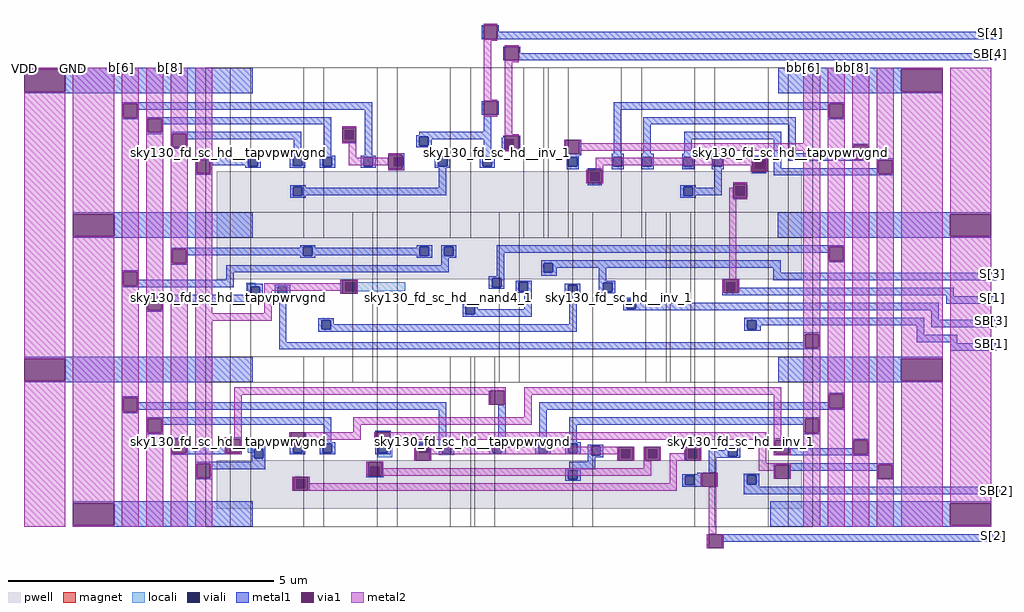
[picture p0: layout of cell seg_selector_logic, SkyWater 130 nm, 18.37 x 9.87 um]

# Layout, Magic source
magic
tech sky130A
magscale 1 2
<< magnet >>
rect 2595 -4415 2647 -4363
<< pwell >>
rect 579 -4820 2781 -4413
rect 579 -5683 2781 -5501
<< locali >>
rect 2370 -4394 2378 -4367
rect 2616 -4367 2650 -4360
rect 2344 -4401 2378 -4394
rect 2639 -4394 2650 -4367
rect 690 -4847 724 -4832
rect 690 -4866 706 -4847
rect 1097 -4865 1289 -4831
rect 695 -5459 729 -5439
rect 695 -5473 720 -5459
rect 1185 -5473 1187 -5439
rect 1221 -5473 1240 -5439
rect 1185 -5489 1240 -5473
<< viali >>
rect 1060 -4293 1094 -4259
rect 1341 -4317 1375 -4283
rect 1663 -4326 1697 -4292
rect 698 -4394 732 -4360
rect 866 -4393 900 -4359
rect 978 -4394 1012 -4360
rect 1132 -4394 1166 -4360
rect 1244 -4394 1278 -4360
rect 1412 -4394 1446 -4360
rect 1580 -4394 1614 -4360
rect 1902 -4394 1936 -4360
rect 2071 -4394 2105 -4360
rect 2183 -4394 2217 -4360
rect 2336 -4394 2370 -4360
rect 2448 -4394 2482 -4360
rect 2605 -4401 2639 -4367
rect 1984 -4450 2018 -4416
rect 867 -4506 901 -4472
rect 2336 -4506 2370 -4472
rect 2532 -4503 2566 -4469
rect 904 -4732 938 -4698
rect 1343 -4732 1377 -4698
rect 1435 -4732 1469 -4698
rect 1810 -4794 1844 -4760
rect 706 -4881 740 -4847
rect 809 -4881 843 -4847
rect 1063 -4865 1097 -4831
rect 1615 -4849 1649 -4815
rect 1716 -4865 1750 -4831
rect 1901 -4877 1935 -4843
rect 2033 -4866 2067 -4832
rect 2496 -4865 2530 -4831
rect 1516 -4951 1550 -4917
rect 2122 -4930 2156 -4896
rect 973 -5007 1007 -4973
rect 2576 -5008 2610 -4974
rect 720 -5493 754 -5459
rect 866 -5473 900 -5439
rect 978 -5473 1012 -5439
rect 1187 -5473 1221 -5439
rect 1340 -5473 1374 -5439
rect 1427 -5474 1461 -5440
rect 1617 -5473 1651 -5439
rect 1790 -5473 1824 -5439
rect 1902 -5473 1936 -5439
rect 1988 -5483 2022 -5449
rect 2101 -5493 2135 -5459
rect 2202 -5494 2236 -5460
rect 2354 -5494 2388 -5460
rect 2504 -5485 2538 -5451
rect 1156 -5559 1190 -5525
rect 878 -5606 912 -5572
rect 1902 -5573 1936 -5539
rect 2342 -5594 2376 -5560
rect 2575 -5592 2609 -5558
<< metal1 >>
rect 1577 -3916 1583 -3864
rect 1635 -3888 1641 -3864
rect 1635 -3916 3513 -3888
rect 1657 -3996 1663 -3944
rect 1715 -3968 1721 -3944
rect 1715 -3996 3513 -3968
rect -147 -4030 714 -4024
rect 9 -4114 714 -4030
rect -147 -4120 714 -4114
rect 2692 -4030 3311 -4024
rect 2692 -4114 3155 -4030
rect 2692 -4120 3311 -4114
rect 221 -4159 1163 -4153
rect 221 -4211 227 -4159
rect 279 -4181 1163 -4159
rect 279 -4211 285 -4181
rect 221 -4217 285 -4211
rect 313 -4215 1009 -4209
rect 313 -4267 319 -4215
rect 371 -4237 1009 -4215
rect 371 -4267 377 -4237
rect 313 -4273 377 -4267
rect 405 -4271 897 -4265
rect 405 -4323 411 -4271
rect 463 -4293 897 -4271
rect 463 -4323 469 -4293
rect 405 -4329 469 -4323
rect 869 -4353 897 -4293
rect 686 -4360 744 -4354
rect 686 -4363 698 -4360
rect 497 -4369 698 -4363
rect 497 -4421 503 -4369
rect 555 -4391 698 -4369
rect 555 -4421 561 -4391
rect 686 -4394 698 -4391
rect 732 -4394 744 -4360
rect 686 -4400 744 -4394
rect 854 -4359 912 -4353
rect 981 -4354 1009 -4237
rect 1051 -4250 1103 -4244
rect 1051 -4308 1103 -4302
rect 1135 -4354 1163 -4181
rect 1577 -4201 1583 -4149
rect 1635 -4201 1641 -4149
rect 2073 -4159 2943 -4153
rect 2073 -4181 2885 -4159
rect 1583 -4265 1611 -4201
rect 1341 -4277 1611 -4265
rect 1329 -4283 1611 -4277
rect 1329 -4317 1341 -4283
rect 1375 -4293 1611 -4283
rect 1657 -4286 1663 -4280
rect 1375 -4317 1387 -4293
rect 1329 -4323 1387 -4317
rect 1224 -4351 1284 -4345
rect 854 -4393 866 -4359
rect 900 -4393 912 -4359
rect 854 -4399 912 -4393
rect 966 -4360 1024 -4354
rect 966 -4394 978 -4360
rect 1012 -4394 1024 -4360
rect 966 -4400 1024 -4394
rect 1120 -4360 1178 -4354
rect 1120 -4394 1132 -4360
rect 1166 -4394 1178 -4360
rect 1120 -4400 1178 -4394
rect 1276 -4360 1284 -4351
rect 1583 -4354 1611 -4293
rect 1651 -4332 1663 -4286
rect 1715 -4332 1721 -4280
rect 1886 -4347 1892 -4295
rect 1944 -4347 1950 -4295
rect 1886 -4353 1950 -4347
rect 2073 -4348 2101 -4181
rect 2185 -4237 2759 -4209
rect 2879 -4211 2885 -4181
rect 2937 -4211 2943 -4159
rect 2879 -4217 2943 -4211
rect 2185 -4348 2213 -4237
rect 2339 -4293 2703 -4265
rect 2339 -4348 2367 -4293
rect 1278 -4394 1284 -4360
rect 1276 -4403 1284 -4394
rect 1400 -4360 1458 -4354
rect 1400 -4394 1412 -4360
rect 1446 -4394 1458 -4360
rect 1400 -4400 1458 -4394
rect 1568 -4360 1626 -4354
rect 1568 -4394 1580 -4360
rect 1614 -4394 1626 -4360
rect 1568 -4400 1626 -4394
rect 1896 -4360 1942 -4353
rect 1896 -4394 1902 -4360
rect 1936 -4394 1942 -4360
rect 1224 -4409 1284 -4403
rect 497 -4427 561 -4421
rect 855 -4472 913 -4466
rect 855 -4506 867 -4472
rect 901 -4475 913 -4472
rect 1415 -4475 1443 -4400
rect 1896 -4406 1942 -4394
rect 2065 -4360 2111 -4348
rect 2065 -4394 2071 -4360
rect 2105 -4394 2111 -4360
rect 1975 -4407 2027 -4401
rect 2065 -4406 2111 -4394
rect 2177 -4360 2223 -4348
rect 2177 -4394 2183 -4360
rect 2217 -4394 2223 -4360
rect 2177 -4406 2223 -4394
rect 2330 -4360 2376 -4348
rect 2330 -4394 2336 -4360
rect 2370 -4394 2376 -4360
rect 2330 -4406 2376 -4394
rect 2442 -4360 2488 -4348
rect 2442 -4394 2448 -4360
rect 2482 -4394 2488 -4360
rect 2442 -4406 2488 -4394
rect 2593 -4363 2647 -4355
rect 1972 -4456 1975 -4410
rect 2027 -4456 2030 -4410
rect 1975 -4465 2027 -4459
rect 901 -4503 1443 -4475
rect 2324 -4472 2382 -4466
rect 901 -4506 913 -4503
rect 855 -4512 913 -4506
rect 2324 -4506 2336 -4472
rect 2370 -4475 2382 -4472
rect 2451 -4475 2479 -4406
rect 2593 -4415 2595 -4363
rect 2593 -4421 2647 -4415
rect 2675 -4401 2703 -4293
rect 2731 -4345 2759 -4237
rect 2971 -4315 3035 -4309
rect 2971 -4345 2977 -4315
rect 2731 -4367 2977 -4345
rect 3029 -4367 3035 -4315
rect 2731 -4373 3035 -4367
rect 3063 -4371 3127 -4365
rect 3063 -4401 3069 -4371
rect 2675 -4423 3069 -4401
rect 3121 -4423 3127 -4371
rect 2675 -4429 3127 -4423
rect 2370 -4503 2479 -4475
rect 2523 -4460 2575 -4454
rect 2370 -4506 2382 -4503
rect 2324 -4512 2382 -4506
rect 2523 -4518 2575 -4512
rect 37 -4574 714 -4568
rect 193 -4658 714 -4574
rect 37 -4664 714 -4658
rect 2691 -4574 3495 -4568
rect 2691 -4658 3339 -4574
rect 2691 -4664 3495 -4658
rect 892 -4698 950 -4692
rect 892 -4701 904 -4698
rect 405 -4707 904 -4701
rect 405 -4759 411 -4707
rect 463 -4729 904 -4707
rect 463 -4759 469 -4729
rect 892 -4732 904 -4729
rect 938 -4701 950 -4698
rect 1331 -4698 1389 -4692
rect 1331 -4701 1343 -4698
rect 938 -4729 1343 -4701
rect 938 -4732 950 -4729
rect 892 -4738 950 -4732
rect 1331 -4732 1343 -4729
rect 1377 -4732 1389 -4698
rect 1331 -4738 1389 -4732
rect 1423 -4698 1481 -4692
rect 1423 -4732 1435 -4698
rect 1469 -4732 1481 -4698
rect 1423 -4738 1481 -4732
rect 1633 -4698 2943 -4692
rect 1633 -4720 2885 -4698
rect 405 -4765 469 -4759
rect 1423 -4766 1451 -4738
rect 221 -4792 285 -4786
rect 221 -4844 227 -4792
rect 279 -4822 285 -4792
rect 614 -4794 1451 -4766
rect 614 -4822 642 -4794
rect 1633 -4809 1661 -4720
rect 1800 -4760 2701 -4748
rect 2879 -4750 2885 -4720
rect 2937 -4750 2943 -4698
rect 2879 -4756 2943 -4750
rect 1800 -4794 1810 -4760
rect 1844 -4776 2701 -4760
rect 1844 -4794 1858 -4776
rect 1800 -4806 1858 -4794
rect 1603 -4815 1661 -4809
rect 279 -4844 642 -4822
rect 221 -4850 642 -4844
rect 694 -4847 752 -4836
rect 694 -4878 706 -4847
rect 313 -4881 706 -4878
rect 740 -4881 752 -4847
rect 313 -4884 752 -4881
rect 313 -4936 319 -4884
rect 371 -4886 752 -4884
rect 797 -4847 855 -4841
rect 797 -4881 809 -4847
rect 843 -4881 855 -4847
rect 1044 -4874 1051 -4822
rect 1103 -4874 1109 -4822
rect 1603 -4849 1615 -4815
rect 1649 -4849 1661 -4815
rect 1603 -4855 1661 -4849
rect 1704 -4831 1765 -4825
rect 1704 -4865 1716 -4831
rect 1750 -4865 1765 -4831
rect 2017 -4826 2045 -4776
rect 2673 -4796 2701 -4776
rect 2017 -4832 2079 -4826
rect 1704 -4871 1765 -4865
rect 371 -4906 747 -4886
rect 797 -4887 855 -4881
rect 371 -4936 377 -4906
rect 313 -4942 377 -4936
rect 813 -5056 841 -4887
rect 1504 -4917 1562 -4911
rect 1504 -4951 1516 -4917
rect 1550 -4933 1562 -4917
rect 1737 -4933 1765 -4871
rect 1889 -4843 1947 -4837
rect 1889 -4877 1901 -4843
rect 1935 -4877 1947 -4843
rect 2017 -4866 2033 -4832
rect 2067 -4866 2079 -4832
rect 2017 -4872 2079 -4866
rect 2481 -4871 2487 -4819
rect 2539 -4852 2545 -4819
rect 2673 -4824 3513 -4796
rect 2539 -4871 3353 -4852
rect 1889 -4883 1947 -4877
rect 2481 -4880 3353 -4871
rect 1550 -4951 1765 -4933
rect 1504 -4961 1765 -4951
rect 961 -4973 1019 -4967
rect 961 -5007 973 -4973
rect 1007 -4989 1019 -4973
rect 1905 -4989 1933 -4883
rect 3325 -4884 3353 -4880
rect 2108 -4896 2170 -4890
rect 2108 -4930 2122 -4896
rect 2156 -4908 2170 -4896
rect 2156 -4930 3297 -4908
rect 3325 -4912 3513 -4884
rect 2108 -4936 3297 -4930
rect 1007 -5007 1933 -4989
rect 961 -5017 1933 -5007
rect 2564 -4974 3241 -4964
rect 2564 -5008 2576 -4974
rect 2610 -4992 3241 -4974
rect 2610 -5008 2626 -4992
rect 2564 -5014 2626 -5008
rect 2787 -5026 2851 -5020
rect 2787 -5056 2793 -5026
rect 813 -5078 2793 -5056
rect 2845 -5078 2851 -5026
rect 3213 -5028 3241 -4992
rect 3269 -4972 3297 -4936
rect 3269 -5000 3513 -4972
rect 3213 -5056 3367 -5028
rect 813 -5084 2851 -5078
rect 3339 -5060 3367 -5056
rect 3339 -5088 3513 -5060
rect -147 -5118 714 -5112
rect 9 -5202 714 -5118
rect -147 -5208 714 -5202
rect 2692 -5118 3311 -5112
rect 2692 -5202 3155 -5118
rect 2692 -5208 3311 -5202
rect 221 -5266 285 -5260
rect 221 -5318 227 -5266
rect 279 -5283 285 -5266
rect 279 -5311 1443 -5283
rect 1603 -5292 1609 -5240
rect 1661 -5292 1667 -5240
rect 2879 -5253 2943 -5247
rect 2879 -5283 2885 -5253
rect 279 -5318 285 -5311
rect 221 -5324 285 -5318
rect 313 -5345 1009 -5339
rect 313 -5397 319 -5345
rect 371 -5367 1009 -5345
rect 371 -5397 377 -5367
rect 313 -5403 377 -5397
rect 405 -5422 469 -5416
rect 405 -5474 411 -5422
rect 463 -5451 469 -5422
rect 609 -5421 673 -5415
rect 609 -5451 615 -5421
rect 463 -5473 615 -5451
rect 667 -5473 673 -5421
rect 851 -5447 857 -5395
rect 909 -5447 915 -5395
rect 981 -5433 1009 -5367
rect 1175 -5395 1233 -5389
rect 1175 -5419 1178 -5395
rect 966 -5439 1024 -5433
rect 463 -5474 673 -5473
rect 405 -5479 673 -5474
rect 711 -5459 761 -5447
rect 405 -5480 469 -5479
rect 711 -5493 720 -5459
rect 754 -5493 761 -5459
rect 854 -5473 866 -5447
rect 900 -5473 912 -5447
rect 854 -5479 912 -5473
rect 966 -5473 978 -5439
rect 1012 -5473 1024 -5439
rect 1172 -5447 1178 -5419
rect 1230 -5419 1233 -5395
rect 1230 -5447 1236 -5419
rect 1172 -5448 1187 -5447
rect 966 -5479 1024 -5473
rect 1175 -5473 1187 -5448
rect 1221 -5448 1236 -5447
rect 1322 -5439 1386 -5432
rect 1221 -5473 1233 -5448
rect 1175 -5479 1233 -5473
rect 1322 -5451 1340 -5439
rect 1374 -5451 1386 -5439
rect 711 -5507 761 -5493
rect 1322 -5503 1328 -5451
rect 1380 -5503 1386 -5451
rect 1415 -5434 1443 -5311
rect 1639 -5433 1667 -5292
rect 1793 -5305 2885 -5283
rect 2937 -5305 2943 -5253
rect 1793 -5311 2943 -5305
rect 1793 -5433 1821 -5311
rect 1905 -5345 2851 -5339
rect 1905 -5367 2793 -5345
rect 1905 -5433 1933 -5367
rect 2787 -5397 2793 -5367
rect 2845 -5397 2851 -5345
rect 2787 -5403 2851 -5397
rect 2675 -5425 2739 -5419
rect 1415 -5440 1473 -5434
rect 1415 -5474 1427 -5440
rect 1461 -5474 1473 -5440
rect 1415 -5480 1473 -5474
rect 1605 -5439 1667 -5433
rect 1605 -5473 1617 -5439
rect 1651 -5473 1667 -5439
rect 1605 -5479 1667 -5473
rect 1778 -5439 1836 -5433
rect 1778 -5473 1790 -5439
rect 1824 -5473 1836 -5439
rect 1778 -5479 1836 -5473
rect 1890 -5439 1948 -5433
rect 1890 -5473 1902 -5439
rect 1936 -5473 1948 -5439
rect 1890 -5479 1948 -5473
rect 1976 -5449 2034 -5443
rect 1976 -5483 1988 -5449
rect 2022 -5483 2034 -5449
rect 2492 -5451 2550 -5445
rect 1976 -5489 2034 -5483
rect 1976 -5507 2004 -5489
rect 2086 -5503 2092 -5451
rect 2144 -5503 2150 -5451
rect 2186 -5503 2192 -5451
rect 2244 -5503 2250 -5451
rect 2338 -5503 2344 -5451
rect 2396 -5503 2402 -5451
rect 2492 -5463 2504 -5451
rect 2430 -5485 2504 -5463
rect 2538 -5485 2550 -5451
rect 2675 -5477 2681 -5425
rect 2733 -5455 2739 -5425
rect 2971 -5426 3035 -5420
rect 2971 -5455 2977 -5426
rect 2733 -5477 2977 -5455
rect 2675 -5478 2977 -5477
rect 3029 -5478 3035 -5426
rect 2675 -5483 3035 -5478
rect 2971 -5484 3035 -5483
rect 2430 -5491 2550 -5485
rect 498 -5508 761 -5507
rect 497 -5514 761 -5508
rect 497 -5566 503 -5514
rect 555 -5535 761 -5514
rect 555 -5566 561 -5535
rect 1142 -5559 1148 -5507
rect 1200 -5559 1206 -5507
rect 1905 -5533 2004 -5507
rect 497 -5572 561 -5566
rect 863 -5615 869 -5563
rect 921 -5615 928 -5563
rect 1142 -5565 1206 -5559
rect 1890 -5535 2004 -5533
rect 1890 -5539 1948 -5535
rect 1890 -5573 1902 -5539
rect 1936 -5573 1948 -5539
rect 2430 -5548 2458 -5491
rect 2675 -5518 3127 -5512
rect 2388 -5554 2406 -5548
rect 1890 -5579 1948 -5573
rect 2330 -5560 2406 -5554
rect 2330 -5594 2342 -5560
rect 2376 -5594 2406 -5560
rect 2330 -5600 2406 -5594
rect 2458 -5600 2464 -5548
rect 2563 -5558 2621 -5552
rect 2563 -5592 2575 -5558
rect 2609 -5592 2621 -5558
rect 2675 -5570 2681 -5518
rect 2733 -5540 3069 -5518
rect 2733 -5570 2739 -5540
rect 3063 -5570 3069 -5540
rect 3121 -5570 3127 -5518
rect 3063 -5572 3127 -5570
rect 2563 -5600 2621 -5592
rect 2563 -5628 3527 -5600
rect 37 -5662 714 -5656
rect 193 -5746 714 -5662
rect 37 -5752 714 -5746
rect 2663 -5662 3495 -5656
rect 2663 -5746 3339 -5662
rect 2663 -5752 3495 -5746
rect 2424 -5832 2430 -5780
rect 2482 -5808 3527 -5780
rect 2482 -5832 2488 -5808
<< via1 >>
rect 1583 -3916 1635 -3864
rect 1663 -3996 1715 -3944
rect -147 -4114 9 -4030
rect 3155 -4114 3311 -4030
rect 227 -4211 279 -4159
rect 319 -4267 371 -4215
rect 411 -4323 463 -4271
rect 503 -4421 555 -4369
rect 1051 -4259 1103 -4250
rect 1051 -4293 1060 -4259
rect 1060 -4293 1094 -4259
rect 1094 -4293 1103 -4259
rect 1051 -4302 1103 -4293
rect 1583 -4201 1635 -4149
rect 1224 -4360 1276 -4351
rect 1663 -4292 1715 -4280
rect 1663 -4326 1697 -4292
rect 1697 -4326 1715 -4292
rect 1663 -4332 1715 -4326
rect 1892 -4347 1944 -4295
rect 2885 -4211 2937 -4159
rect 1224 -4394 1244 -4360
rect 1244 -4394 1276 -4360
rect 1224 -4403 1276 -4394
rect 1975 -4416 2027 -4407
rect 1975 -4450 1984 -4416
rect 1984 -4450 2018 -4416
rect 2018 -4450 2027 -4416
rect 1975 -4459 2027 -4450
rect 2595 -4367 2647 -4363
rect 2595 -4401 2605 -4367
rect 2605 -4401 2639 -4367
rect 2639 -4401 2647 -4367
rect 2595 -4415 2647 -4401
rect 2977 -4367 3029 -4315
rect 3069 -4423 3121 -4371
rect 2523 -4469 2575 -4460
rect 2523 -4503 2532 -4469
rect 2532 -4503 2566 -4469
rect 2566 -4503 2575 -4469
rect 2523 -4512 2575 -4503
rect 37 -4658 193 -4574
rect 3339 -4658 3495 -4574
rect 411 -4759 463 -4707
rect 227 -4844 279 -4792
rect 2885 -4750 2937 -4698
rect 319 -4936 371 -4884
rect 1051 -4831 1103 -4822
rect 1051 -4865 1063 -4831
rect 1063 -4865 1097 -4831
rect 1097 -4865 1103 -4831
rect 1051 -4874 1103 -4865
rect 2487 -4831 2539 -4819
rect 2487 -4865 2496 -4831
rect 2496 -4865 2530 -4831
rect 2530 -4865 2539 -4831
rect 2487 -4871 2539 -4865
rect 2793 -5078 2845 -5026
rect -147 -5202 9 -5118
rect 3155 -5202 3311 -5118
rect 227 -5318 279 -5266
rect 1609 -5292 1661 -5240
rect 319 -5397 371 -5345
rect 411 -5474 463 -5422
rect 615 -5473 667 -5421
rect 857 -5439 909 -5395
rect 857 -5447 866 -5439
rect 866 -5447 900 -5439
rect 900 -5447 909 -5439
rect 1178 -5439 1230 -5395
rect 1178 -5447 1187 -5439
rect 1187 -5447 1221 -5439
rect 1221 -5447 1230 -5439
rect 1328 -5473 1340 -5451
rect 1340 -5473 1374 -5451
rect 1374 -5473 1380 -5451
rect 1328 -5503 1380 -5473
rect 2885 -5305 2937 -5253
rect 2793 -5397 2845 -5345
rect 2092 -5459 2144 -5451
rect 2092 -5493 2101 -5459
rect 2101 -5493 2135 -5459
rect 2135 -5493 2144 -5459
rect 2092 -5503 2144 -5493
rect 2192 -5460 2244 -5451
rect 2192 -5494 2202 -5460
rect 2202 -5494 2236 -5460
rect 2236 -5494 2244 -5460
rect 2192 -5503 2244 -5494
rect 2344 -5460 2396 -5451
rect 2344 -5494 2354 -5460
rect 2354 -5494 2388 -5460
rect 2388 -5494 2396 -5460
rect 2344 -5503 2396 -5494
rect 2681 -5477 2733 -5425
rect 2977 -5478 3029 -5426
rect 503 -5566 555 -5514
rect 1148 -5525 1200 -5507
rect 1148 -5559 1156 -5525
rect 1156 -5559 1190 -5525
rect 1190 -5559 1200 -5525
rect 869 -5572 921 -5563
rect 869 -5606 878 -5572
rect 878 -5606 912 -5572
rect 912 -5606 921 -5572
rect 869 -5615 921 -5606
rect 2406 -5600 2458 -5548
rect 2681 -5570 2733 -5518
rect 3069 -5570 3121 -5518
rect 37 -5746 193 -5662
rect 3339 -5746 3495 -5662
rect 2430 -5832 2482 -5780
<< metal2 >>
rect 1583 -3864 1635 -3858
rect 1583 -3922 1635 -3916
rect -147 -4030 9 -4024
rect -147 -5118 9 -4114
rect -147 -5752 9 -5202
rect 37 -4574 193 -4024
rect 37 -5662 193 -4658
rect 37 -5752 193 -5746
rect 221 -4159 285 -4024
rect 221 -4211 227 -4159
rect 279 -4211 285 -4159
rect 221 -4792 285 -4211
rect 221 -4844 227 -4792
rect 279 -4844 285 -4792
rect 221 -5266 285 -4844
rect 221 -5318 227 -5266
rect 279 -5318 285 -5266
rect 221 -5752 285 -5318
rect 313 -4215 377 -4024
rect 313 -4267 319 -4215
rect 371 -4267 377 -4215
rect 313 -4884 377 -4267
rect 313 -4936 319 -4884
rect 371 -4936 377 -4884
rect 313 -5345 377 -4936
rect 313 -5397 319 -5345
rect 371 -5397 377 -5345
rect 313 -5752 377 -5397
rect 405 -4271 469 -4024
rect 405 -4323 411 -4271
rect 463 -4323 469 -4271
rect 405 -4707 469 -4323
rect 405 -4759 411 -4707
rect 463 -4759 469 -4707
rect 405 -5422 469 -4759
rect 405 -5474 411 -5422
rect 463 -5474 469 -5422
rect 405 -5752 469 -5474
rect 497 -4369 561 -4024
rect 1583 -4143 1611 -3922
rect 1663 -3944 1715 -3938
rect 1663 -4002 1715 -3996
rect 1583 -4149 1635 -4143
rect 1583 -4207 1635 -4201
rect 1051 -4250 1103 -4244
rect 1051 -4308 1103 -4302
rect 497 -4421 503 -4369
rect 555 -4421 561 -4369
rect 1075 -4363 1103 -4308
rect 1663 -4274 1691 -4002
rect 1663 -4280 1715 -4274
rect 1663 -4338 1715 -4332
rect 1224 -4351 1276 -4345
rect 1886 -4347 1892 -4295
rect 1944 -4307 1950 -4295
rect 2787 -4307 2851 -4024
rect 1944 -4335 2851 -4307
rect 1944 -4347 1950 -4335
rect 1075 -4391 1224 -4363
rect 1224 -4409 1276 -4403
rect 2005 -4391 2595 -4363
rect 2005 -4407 2033 -4391
rect 497 -4947 561 -4421
rect 1969 -4459 1975 -4407
rect 2027 -4459 2033 -4407
rect 2589 -4415 2595 -4391
rect 2647 -4415 2653 -4363
rect 2523 -4460 2575 -4454
rect 2507 -4512 2523 -4475
rect 2507 -4518 2575 -4512
rect 2507 -4819 2535 -4518
rect 1044 -4835 1051 -4822
rect 757 -4863 1051 -4835
rect 757 -4947 785 -4863
rect 1044 -4874 1051 -4863
rect 1103 -4874 1109 -4822
rect 2481 -4871 2487 -4819
rect 2539 -4871 2545 -4819
rect 497 -4975 785 -4947
rect 497 -5514 561 -4975
rect 2787 -5026 2851 -4335
rect 2787 -5078 2793 -5026
rect 2845 -5078 2851 -5026
rect 645 -5240 1667 -5227
rect 645 -5255 1609 -5240
rect 645 -5415 673 -5255
rect 1603 -5292 1609 -5255
rect 1661 -5292 1667 -5240
rect 1737 -5255 2703 -5227
rect 1737 -5339 1765 -5255
rect 1093 -5367 1765 -5339
rect 1093 -5395 1121 -5367
rect 609 -5421 673 -5415
rect 609 -5473 615 -5421
rect 667 -5473 673 -5421
rect 851 -5447 857 -5395
rect 909 -5423 1121 -5395
rect 909 -5447 915 -5423
rect 1172 -5447 1178 -5395
rect 1230 -5423 2647 -5395
rect 1230 -5447 1236 -5423
rect 609 -5479 673 -5473
rect 1322 -5503 1328 -5451
rect 1380 -5479 2092 -5451
rect 1380 -5503 1386 -5479
rect 2086 -5503 2092 -5479
rect 2144 -5503 2150 -5451
rect 2186 -5503 2192 -5451
rect 2244 -5503 2250 -5451
rect 2338 -5475 2344 -5451
rect 2283 -5503 2344 -5475
rect 2396 -5503 2402 -5451
rect 497 -5566 503 -5514
rect 555 -5566 561 -5514
rect 1142 -5559 1148 -5507
rect 1200 -5531 1206 -5507
rect 2186 -5531 2214 -5503
rect 1200 -5559 2214 -5531
rect 497 -5752 561 -5566
rect 863 -5615 869 -5563
rect 921 -5587 928 -5563
rect 2283 -5587 2311 -5503
rect 2619 -5512 2647 -5423
rect 2675 -5419 2703 -5255
rect 2787 -5345 2851 -5078
rect 2787 -5397 2793 -5345
rect 2845 -5397 2851 -5345
rect 2675 -5425 2739 -5419
rect 2675 -5477 2681 -5425
rect 2733 -5477 2739 -5425
rect 2675 -5483 2739 -5477
rect 2619 -5518 2739 -5512
rect 2619 -5540 2681 -5518
rect 921 -5615 2311 -5587
rect 2400 -5600 2406 -5548
rect 2458 -5600 2464 -5548
rect 2675 -5570 2681 -5540
rect 2733 -5570 2739 -5518
rect 2430 -5780 2458 -5600
rect 2787 -5752 2851 -5397
rect 2879 -4159 2943 -4024
rect 2879 -4211 2885 -4159
rect 2937 -4211 2943 -4159
rect 2879 -4698 2943 -4211
rect 2879 -4750 2885 -4698
rect 2937 -4750 2943 -4698
rect 2879 -5253 2943 -4750
rect 2879 -5305 2885 -5253
rect 2937 -5305 2943 -5253
rect 2879 -5752 2943 -5305
rect 2971 -4315 3035 -4024
rect 2971 -4367 2977 -4315
rect 3029 -4367 3035 -4315
rect 2971 -5426 3035 -4367
rect 2971 -5478 2977 -5426
rect 3029 -5478 3035 -5426
rect 2971 -5752 3035 -5478
rect 3063 -4371 3127 -4024
rect 3063 -4423 3069 -4371
rect 3121 -4423 3127 -4371
rect 3063 -5518 3127 -4423
rect 3063 -5570 3069 -5518
rect 3121 -5570 3127 -5518
rect 3063 -5752 3127 -5570
rect 3155 -4030 3311 -4024
rect 3155 -5118 3311 -4114
rect 3155 -5752 3311 -5202
rect 3339 -4574 3495 -4024
rect 3339 -5662 3495 -4658
rect 3339 -5752 3495 -5746
rect 2424 -5832 2430 -5780
rect 2482 -5832 2488 -5780
use sky130_fd_sc_hd__inv_1  sky130_fd_sc_hd__inv_1_0 ~/pdk/sky130A/libs.ref/sky130_fd_sc_hd/mag
transform 1 0 1956 0 -1 -4616
box -38 -48 314 592
use sky130_fd_sc_hd__inv_1  sky130_fd_sc_hd__inv_1_1
transform 1 0 2416 0 -1 -4616
box -38 -48 314 592
use sky130_fd_sc_hd__inv_1  sky130_fd_sc_hd__inv_1_2
transform 1 0 1496 0 1 -4616
box -38 -48 314 592
use sky130_fd_sc_hd__inv_1  sky130_fd_sc_hd__inv_1_3
transform 1 0 2416 0 1 -5704
box -38 -48 314 592
use sky130_fd_sc_hd__tapvpwrvgnd_1  sky130_fd_sc_hd__tapvpwrvgnd_1_0 ~/pdk/sky130A/libs.ref/sky130_fd_sc_hd/mag
transform -1 0 1864 0 1 -4616
box -38 -48 130 592
use sky130_fd_sc_hd__tapvpwrvgnd_1  sky130_fd_sc_hd__tapvpwrvgnd_1_1
transform 1 0 2232 0 -1 -4616
box -38 -48 130 592
use sky130_fd_sc_hd__tapvpwrvgnd_1  sky130_fd_sc_hd__tapvpwrvgnd_1_2
transform 1 0 2324 0 -1 -4616
box -38 -48 130 592
use sky130_fd_sc_hd__tapvpwrvgnd_1  sky130_fd_sc_hd__tapvpwrvgnd_1_3
transform 1 0 2692 0 1 -5704
box -38 -48 130 592
use sky130_fd_sc_hd__tapvpwrvgnd_1  sky130_fd_sc_hd__tapvpwrvgnd_1_4
transform 1 0 576 0 1 -5704
box -38 -48 130 592
use sky130_fd_sc_hd__tapvpwrvgnd_1  sky130_fd_sc_hd__tapvpwrvgnd_1_5
transform 1 0 576 0 1 -4616
box -38 -48 130 592
use sky130_fd_sc_hd__tapvpwrvgnd_1  sky130_fd_sc_hd__tapvpwrvgnd_1_7
transform 1 0 576 0 -1 -4616
box -38 -48 130 592
use sky130_fd_sc_hd__tapvpwrvgnd_1  sky130_fd_sc_hd__tapvpwrvgnd_1_8
transform 1 0 2692 0 -1 -4616
box -38 -48 130 592
use sky130_fd_sc_hd__tapvpwrvgnd_1  sky130_fd_sc_hd__tapvpwrvgnd_1_9
transform 1 0 2692 0 1 -4616
box -38 -48 130 592
use seg_selector_1_logic  x1
transform 1 0 1234 0 1 -2656
box 592 -2008 1496 -1368
use seg_selector_2_logic  x2
transform 1 0 131 0 1 -2259
box 499 -3493 2323 -2853
use seg_selector_3_logic  x3
transform 1 0 -62 0 -1 -6976
box 692 -2408 2056 -1768
use seg_selector_4_logic  x4
transform 1 0 380 0 1 -2402
box 250 -2262 1154 -1622
<< labels >>
flabel metal2 s 221 -4024 221 -4024 4 FreeSans 240 0 0 0 b[6]
port 0 se
flabel metal2 s 313 -4024 313 -4024 4 FreeSans 240 0 0 0 b[7]
port 1 se
flabel metal2 s 405 -4024 405 -4024 4 FreeSans 240 0 0 0 b[8]
port 2 se
flabel metal2 s 497 -4024 497 -4024 4 FreeSans 240 0 0 0 b[9]
port 3 se
flabel metal2 s 2787 -4024 2787 -4024 4 FreeSans 240 0 0 0 bb[6]
port 4 se
flabel metal2 s 2879 -4024 2879 -4024 4 FreeSans 240 0 0 0 bb[7]
port 5 se
flabel metal2 s 2971 -4024 2971 -4024 4 FreeSans 240 0 0 0 bb[8]
port 6 se
flabel metal2 s 3063 -4024 3063 -4024 4 FreeSans 240 0 0 0 bb[9]
port 7 se
flabel metal2 s -145 -4027 -145 -4027 4 FreeSans 480 0 0 0 VDD
port 16 se
flabel metal2 s 39 -4026 39 -4026 4 FreeSans 480 0 0 0 GND
port 17 se
flabel metal1 s 3514 -5615 3514 -5615 4 FreeSans 240 0 0 0 SB[2]
port 13 se
flabel metal1 s 3502 -5783 3502 -5783 4 FreeSans 240 0 0 0 S[2]
port 9 se
flabel metal1 s 3497 -4798 3497 -4798 4 FreeSans 240 0 0 0 S[3]
port 10 se
flabel metal1 s 3492 -3971 3492 -3971 4 FreeSans 240 0 0 0 SB[4]
port 15 se
flabel metal1 s 3491 -3890 3491 -3890 4 FreeSans 240 0 0 0 S[4]
port 11 se
flabel metal1 s 3498 -4887 3498 -4887 4 FreeSans 240 0 0 0 S[1]
port 8 se
flabel metal1 3496 -4973 3496 -4973 4 FreeSans 240 0 0 0 SB[3]
port 14 se
flabel metal1 3496 -5061 3496 -5061 4 FreeSans 240 0 0 0 SB[1]
port 12 se
<< end >>

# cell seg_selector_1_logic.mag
magic
tech sky130A
use sky130_fd_sc_hd__nand2_1  x1 ~/pdk/sky130A/libs.ref/sky130_fd_sc_hd/mag
transform 1 0 315 0 1 -980
box -19 -24 157 296
use sky130_fd_sc_hd__nand2_1  x2
transform 1 0 453 0 1 -980
box -19 -24 157 296
use sky130_fd_sc_hd__nor2_1  x3 ~/pdk/sky130A/libs.ref/sky130_fd_sc_hd/mag
transform 1 0 591 0 1 -980
box -19 -24 157 296
<< end >>

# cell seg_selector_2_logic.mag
magic
tech sky130A
magscale 1 2
use sky130_fd_sc_hd__tapvpwrvgnd_1  sky130_fd_sc_hd__tapvpwrvgnd_1_0 ~/pdk/sky130A/libs.ref/sky130_fd_sc_hd/mag
transform 1 0 1365 0 1 -3445
box -38 -48 130 592
use sky130_fd_sc_hd__nand2_1  x1 ~/pdk/sky130A/libs.ref/sky130_fd_sc_hd/mag
transform 1 0 537 0 1 -3445
box -38 -48 314 592
use sky130_fd_sc_hd__nand2_1  x2
transform 1 0 813 0 1 -3445
box -38 -48 314 592
use sky130_fd_sc_hd__nand2_1  x3
transform 1 0 1089 0 1 -3445
box -38 -48 314 592
use sky130_fd_sc_hd__nand4_1  x4 ~/pdk/sky130A/libs.ref/sky130_fd_sc_hd/mag
transform 1 0 1825 0 1 -3445
box -38 -48 498 592
use sky130_fd_sc_hd__nand3_1  x5 ~/pdk/sky130A/libs.ref/sky130_fd_sc_hd/mag
transform 1 0 1457 0 1 -3445
box -38 -48 406 592
<< end >>

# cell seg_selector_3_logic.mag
magic
tech sky130A
use sky130_fd_sc_hd__tapvpwrvgnd_1  sky130_fd_sc_hd__tapvpwrvgnd_1_0 ~/pdk/sky130A/libs.ref/sky130_fd_sc_hd/mag
transform 1 0 595 0 1 -1180
box -19 -24 65 296
use sky130_fd_sc_hd__nand4_1  x1 ~/pdk/sky130A/libs.ref/sky130_fd_sc_hd/mag
transform 1 0 641 0 1 -1180
box -19 -24 249 296
use sky130_fd_sc_hd__nand4_1  x2
transform 1 0 365 0 1 -1180
box -19 -24 249 296
use sky130_fd_sc_hd__nand2_1  x3 ~/pdk/sky130A/libs.ref/sky130_fd_sc_hd/mag
transform 1 0 871 0 1 -1180
box -19 -24 157 296
<< end >>

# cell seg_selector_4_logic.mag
magic
tech sky130A
use sky130_fd_sc_hd__nand2_1  x1 $PDKPATH/libs.ref/sky130_fd_sc_hd/mag
transform 1 0 144 0 1 -1107
box -19 -24 157 296
use sky130_fd_sc_hd__nand2_1  x2
transform 1 0 282 0 1 -1107
box -19 -24 157 296
use sky130_fd_sc_hd__nor2_1  x3 $PDKPATH/libs.ref/sky130_fd_sc_hd/mag
transform 1 0 420 0 1 -1107
box -19 -24 157 296
<< end >>
